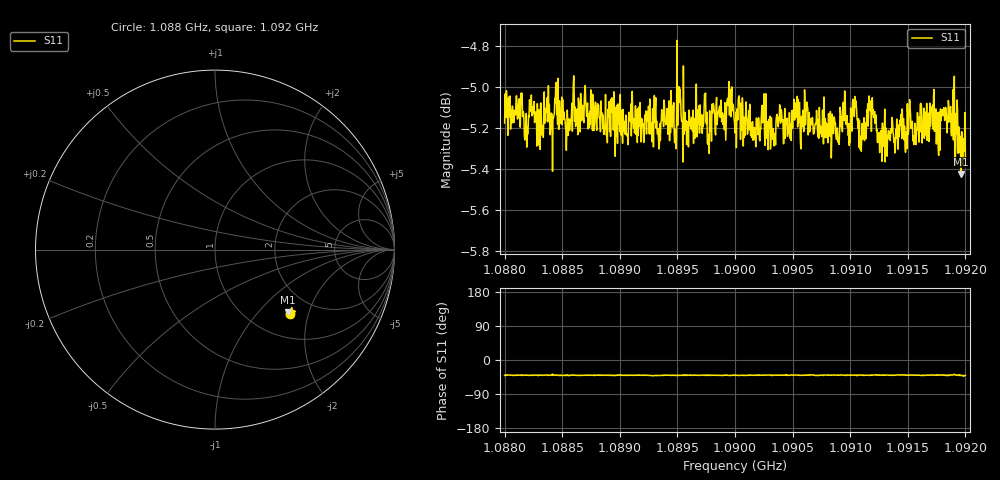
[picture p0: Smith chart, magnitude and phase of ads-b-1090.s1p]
! Calibrated averaged scanner-service zoom
# Hz S RI R 50
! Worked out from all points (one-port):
!   1001 points, 1.088 GHz to 1.092 GHz, reference 50 ohm
!   lowest |S11| = -5.4 dB at 1.09196 GHz (marker M1), VSWR 3.31, Z = 74.8 - j73.5 ohm
!   |S11| at or under -10 dB: nowhere
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1.088e9  0.4188 -0.3582
1.088384e9  0.4222 -0.3584
1.088412e9  0.4233 -0.3571
1.0885e9  0.4166 -0.36
1.088872e9  0.4176 -0.3569
1.088936e9  0.421 -0.3606
1.089e9  0.425 -0.3466
1.089212e9  0.4166 -0.3562
1.089292e9  0.4056 -0.3622
1.089336e9  0.4127 -0.3578
1.089408e9  0.4249 -0.3565
1.0895e9  0.4213 -0.3551
1.089776e9  0.4115 -0.3524
1.089956e9  0.425 -0.3672
1.09e9  0.4201 -0.352
1.090332e9  0.4186 -0.3558
1.0905e9  0.4236 -0.3501
1.091e9  0.414 -0.3546
1.091116e9  0.4173 -0.3532
1.091208e9  0.4277 -0.3514
1.091272e9  0.4192 -0.3524
1.0915e9  0.4174 -0.3561
1.091628e9  0.421 -0.355
1.09176e9  0.4232 -0.3566
1.091848e9  0.4158 -0.3618
1.091888e9  0.4246 -0.352
1.09196e9  0.4052 -0.3503
1.092e9  0.4107 -0.3509
